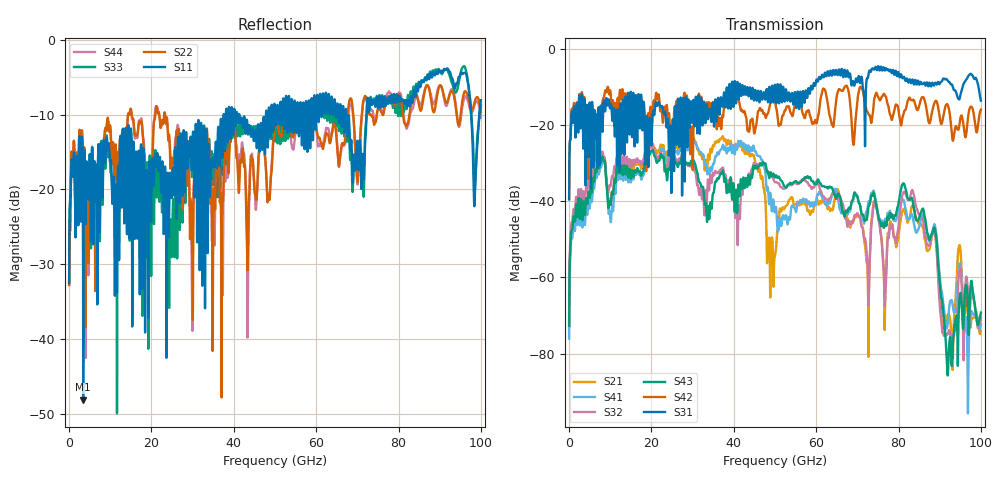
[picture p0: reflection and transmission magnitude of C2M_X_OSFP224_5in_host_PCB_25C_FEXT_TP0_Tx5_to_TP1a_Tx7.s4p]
# GHz S RI R 45
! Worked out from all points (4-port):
!   4000 points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, 25 MHz to 100 GHz, reference 45 ohm
!   strongest paths, dB at 25 MHz, 25.02 GHz, 50.02 GHz, 75.03 GHz, 100 GHz:
!     S31: -39.5, -21.5, -9.5, -4.6, -13.6
!     S42: -39.3, -21.2, -13.8, -12.5, -15.9
!     S43: -72.7, -29.3, -33.7, -43.7, -69.2
!     S32: -70.4, -27.5, -35.0, -44.2, -70.5
!     S41: -76.1, -26.9, -42.6, -43.1, -72.2
!     S21: -72.9, -25.0, -54.2, -43.6, -74.1
!   lowest |S11| = -48.1 dB at 3.45 GHz (marker M1), VSWR 1.01, Z = 44.7 + j0.124 ohm
!   |S11| at or under -10 dB: start of sweep to 37.52 GHz; 41.36 GHz to 47.81 GHz (6.449 GHz wide, 14.5 % of centre); 67.33 GHz to 72.24 GHz (4.906 GHz wide, 7.03 % of centre) (the widest 3 of 35)
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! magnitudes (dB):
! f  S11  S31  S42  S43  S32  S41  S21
! 25 MHz  -32.4  -39.5  -39.3  -72.7  -70.4  -76.1  -72.9
! 3.45 GHz  -48.1  -26.2  -18.1  -40.9  -37.9  -43.0  -40.6
! 41.5 GHz  -10.7  -9.2  -15.0  -37.6  -44.3  -25.3  -25.6
! 49.27 GHz  -8.9  -9.8  -13.0  -33.3  -33.6  -42.5  -49.5
! 83.38 GHz  -8.4  -8.0  -13.5  -39.5  -37.1  -43.7  -41.1
! 91.88 GHz  -3.8  -8.2  -14.6  -85.0  -74.9  -72.7  -70.1
! 100 GHz  -8.1  -13.6  -15.9  -69.2  -70.5  -72.2  -74.1
